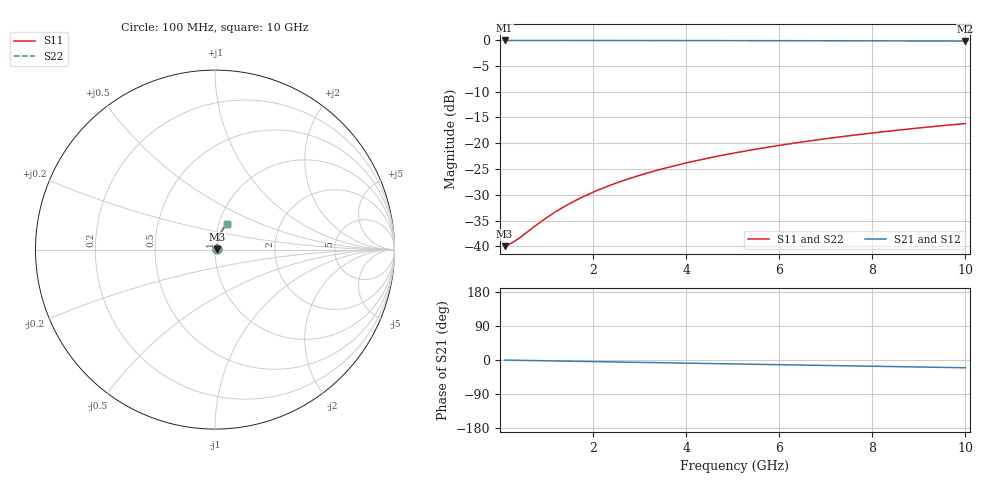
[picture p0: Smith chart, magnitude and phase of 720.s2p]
# Hz S RI R 50.00
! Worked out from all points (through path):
!   100 points, 100 MHz to 10 GHz, reference 50 ohm
!   highest |S21| = -0.09 dB at 100 MHz (marker M1); lowest = -0.2 dB at 10 GHz (marker M2)
!   group delay of S21, straight-line fit = 5.7 ps
!   lowest |S11| = -39.9 dB at 100 MHz (marker M3), VSWR 1.02, Z = 51 + j0.159 ohm
!   |S11| at or under -10 dB: start of sweep to end of sweep
!   |S22| runs from -39.9 to -16.2 dB; largest |S21 - S12| = 0
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1e8  0.00995 0.00156  0.99 -0.00357  0.99 -0.00357  0.00995 0.00156
2e8  0.01 0.00312  0.99 -0.00714  0.99 -0.00714  0.01 0.00312
3e8  0.0101 0.00468  0.9899 -0.0107  0.9899 -0.0107  0.0101 0.00468
4e8  0.0102 0.00624  0.9898 -0.0143  0.9898 -0.0143  0.0102 0.00624
9e8  0.0107 0.014  0.9891 -0.0321  0.9891 -0.0321  0.0107 0.014
1.2e9  0.0111 0.0187  0.9886 -0.0428  0.9886 -0.0428  0.0111 0.0187
1.5e9  0.0116 0.0233  0.9879 -0.0535  0.9879 -0.0535  0.0116 0.0233
1.8e9  0.0122 0.028  0.9871 -0.0642  0.9871 -0.0642  0.0122 0.028
2.1e9  0.0129 0.0326  0.9862 -0.0748  0.9862 -0.0748  0.0129 0.0326
2.5e9  0.014 0.0387  0.9847 -0.089  0.9847 -0.089  0.014 0.0387
2.9e9  0.0152 0.0448  0.983 -0.1031  0.983 -0.1031  0.0152 0.0448
3.4e9  0.017 0.0524  0.9806 -0.1208  0.9806 -0.1208  0.017 0.0524
3.8e9  0.0187 0.0584  0.9783 -0.1348  0.9783 -0.1348  0.0187 0.0584
4.2e9  0.0205 0.0643  0.9759 -0.1488  0.9759 -0.1488  0.0205 0.0643
4.6e9  0.0224 0.0702  0.9732 -0.1627  0.9732 -0.1627  0.0224 0.0702
5.1e9  0.0251 0.0774  0.9695 -0.18  0.9695 -0.18  0.0251 0.0774
5.9e9  0.03 0.0888  0.9628 -0.2075  0.9628 -0.2075  0.03 0.0888
6.7e9  0.0355 0.0999  0.9552 -0.2346  0.9552 -0.2346  0.0355 0.0999
7.5e9  0.0416 0.1106  0.9468 -0.2614  0.9468 -0.2614  0.0416 0.1106
8.4e9  0.0491 0.1221  0.9363 -0.291  0.9363 -0.291  0.0491 0.1221
9.2e9  0.0564 0.1319  0.9261 -0.3169  0.9261 -0.3169  0.0564 0.1319
1e10  0.0642 0.1413  0.9151 -0.3423  0.9151 -0.3423  0.0642 0.1413
